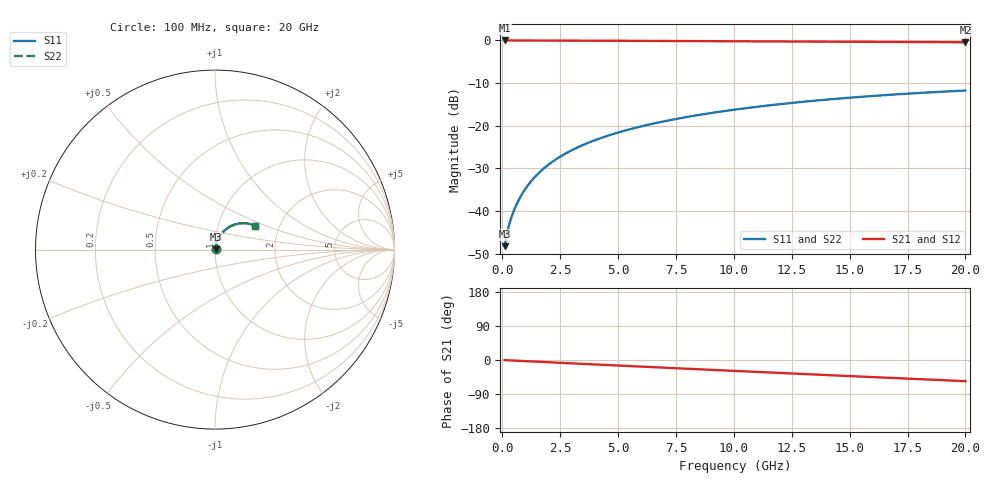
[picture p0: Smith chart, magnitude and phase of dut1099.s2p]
! Touchstone file exported from HFSS 2026.1.0
!  File:  C:/ffzhzh/LocalFiles/Ansys_Project_Files/temp_train_TMRDL_1099_1783161215_55132.aedt
!  Generated:  06:34:52 PM Jul  4, 2026
!  Design:  TMRDL
!  Project:  temp_train_TMRDL_1099_1783161215_55132
! Variables:
!  h_bsmrdl = 2um
!  h_ox = 20um
!  h_rdl = 5um
!  h_sub = 80um
!  h_tmrdl = 4.5um
!  h_tsv = 80um
!  h_via = 3um
!  l_bsmrdl = 300um
!  l_sub = 1355.74um
!  l_tmrdl = 955.74um
!  m_sub = 200um
!  pitch = 39.05um
!  r_tsv = 6um
!  s_tmrdl = 10um
!  w_bsmrdl = 18um
!  w_sub = 500um
!  w_tmrdl = 25.99um
!  x_tsv_center1 = 968.735um
!  x_tsv_center2 = 1286.735um
!  x_tsv_center3 = 2268.465um
!  x_tsv_center4 = 2586.465um
!  x_tsv_center5 = 3568.195um
!  x_tsv_center6 = 3886.195um
# GHz S MA R 50.000000
! Terminal data exported
! Port[1] = TM_RDL1_1_T1
! Port[2] = TM_RDL1_1_T2
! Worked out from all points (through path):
!   200 points, 100 MHz to 20 GHz, reference 50 ohm
!   highest |S21| = -0.03 dB at 100 MHz (marker M1); lowest = -0.4 dB at 20 GHz (marker M2)
!   group delay of S21, straight-line fit = 7.74 ps
!   lowest |S11| = -48.2 dB at 100 MHz (marker M3), VSWR 1.01, Z = 50.3 + j0.223 ohm
!   |S11| at or under -10 dB: start of sweep to end of sweep
!   |S22| runs from -48.2 to -11.8 dB; largest |S21 - S12| = 1.1e-14
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0.1  0.00389 34.7  0.9968 -0.3  0.9968 -0.3  0.00389 34.7
! Gamma 0 0 0 0
! Port Impedance 50 0 50 0
0.2  0.00547 48.9  0.9964 -0.6  0.9964 -0.6  0.005469 48.9
0.3  0.007035 56.1  0.9962 -0.9  0.9962 -0.9  0.007035 56.1
0.4  0.008581 60.9  0.996 -1.2  0.996 -1.2  0.00858 60.9
0.5  0.01014 64.4  0.9958 -1.5  0.9958 -1.5  0.01014 64.4
0.6  0.01173 67.0  0.9957 -1.8  0.9957 -1.8  0.01173 67.0
0.8  0.01498 70.6  0.9955 -2.4  0.9955 -2.4  0.01498 70.6
1  0.0183 72.7  0.9953 -3.0  0.9953 -3.0  0.0183 72.7
1.2  0.02165 74.0  0.9951 -3.6  0.9951 -3.6  0.02165 74.0
1.4  0.02502 74.8  0.9949 -4.2  0.9949 -4.2  0.02502 74.8
1.7  0.03008 75.3  0.9945 -5.0  0.9945 -5.0  0.03007 75.3
2.2  0.03846 75.3  0.9938 -6.5  0.9938 -6.5  0.03846 75.3
2.8  0.0484 74.5  0.9928 -8.3  0.9928 -8.3  0.0484 74.5
3.5  0.05977 73.1  0.9914 -10.3  0.9914 -10.3  0.05977 73.1
4.2  0.07089 71.5  0.9899 -12.3  0.9899 -12.3  0.07089 71.5
5  0.08327 69.5  0.9881 -14.6  0.9881 -14.6  0.08327 69.6
6.8  0.11 64.9  0.9837 -19.7  0.9837 -19.7  0.11 65.0
8.3  0.1312 61.1  0.98 -24.0  0.98 -24.0  0.1312 61.2
10.1  0.1553 56.4  0.9754 -29.0  0.9754 -29.0  0.1553 56.5
13.4  0.1955 47.9  0.9667 -38.1  0.9667 -38.1  0.1955 48.0
16.7  0.2301 39.4  0.958 -47.0  0.958 -47.0  0.2301 39.5
20  0.2584 30.9  0.9501 -55.9  0.9501 -55.9  0.2585 31.0
